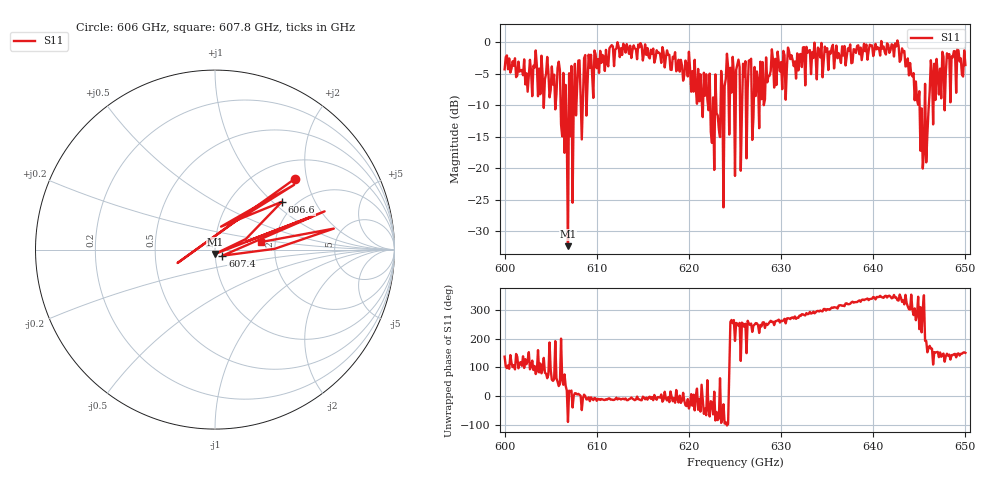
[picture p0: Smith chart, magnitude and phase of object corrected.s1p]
!Created with skrf (http://scikit-rf.org).
# GHz S MA R 50.0
!freq magS11 angS11
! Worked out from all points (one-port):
!   401 points, 600 GHz to 650 GHz, reference 50 ohm
!   lowest |S11| = -32.4 dB at 606.9 GHz (marker M1), VSWR 1.05, Z = 49.9 - j2.41 ohm
!   |S11| at or under -10 dB: 622.9741 GHz to 623.4353 GHz (461.2 MHz wide, 0.074 % of centre); 645.0292 GHz to 645.5859 GHz (556.7 MHz wide, 0.0863 % of centre); 645.6589 GHz to 646.0335 GHz (374.6 MHz wide, 0.058 % of centre) (the widest 3 of 27)
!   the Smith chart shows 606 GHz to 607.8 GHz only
!   S11 on the Smith chart (normalised r, x): 606 GHz: 1.39, +1.71; 606.6 GHz: 1.70, +1.15; 607.4 GHz: 1.08, -0.07; 607.8 GHz: 1.69, +0.15
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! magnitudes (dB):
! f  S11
! 600 GHz  -4.3
! 606 GHz  -4.5
! 606.2 GHz  -15.0
! 606.6 GHz  -6.8
! 606.9 GHz  -32.4
! 607.1 GHz  -14.9
! 607.4 GHz  -25.5
! 607.6 GHz  -3.5
! 607.8 GHz  -11.6
! 608.6 GHz  -2.6
! 609.2 GHz  -4.1
! 612.5 GHz  -2.4
! 618.8 GHz  -4.1
! 622 GHz  -9.1
! 622.5 GHz  -16.0
! 623.4 GHz  -15.1
! 623.5 GHz  -4.6
! 624.2 GHz  -3.9
! 625 GHz  -21.2
! 627.1 GHz  -3.9
! 628.9 GHz  -4.6
! 631.2 GHz  -2.8
! 637.5 GHz  -0.4
! 642.5 GHz  -0.7
! 643.8 GHz  -2.6
! 645.6 GHz  -6.6
! 646.4 GHz  -4.9
! 650 GHz  -3.6
